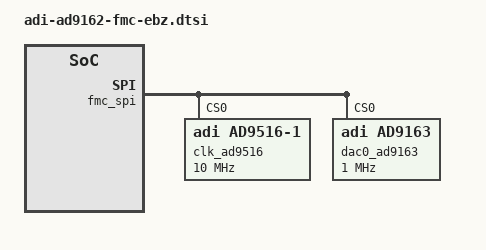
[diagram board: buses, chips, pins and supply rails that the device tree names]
// SPDX-License-Identifier: GPL-2.0
/*
 * dts file for AD916x-FMC-EBZ on Xilinx ZynqMP ZCU102 Rev 1.0
 *
 * Copyright (C) 2024 Analog Devices Inc.
 */

/ {
	clocks {
		ad9516_clkin: clock@0 {
			compatible = "fixed-clock";

			clock-frequency = <2000000000>;
			clock-output-names = "clkin";
			#clock-cells = <0>;
		};
	};
};


&fmc_spi {
	clk_ad9516: ad9516@0 {
		compatible = "adi,ad9516-1";
		reg = <0>;

		spi-max-frequency = <10000000>;

		firmware = "ad9144_fmc_ebz_ad9516.stp";

		clocks = <&ad9516_clkin>, <&ad9516_clkin>;
		clock-names = "refclk", "clkin";

		clock-output-names = "out0", "out1", "out2", "out3", "out4", "out5", "out6", "out7";
		#clock-cells = <1>;
	};
        
        dac0_ad9163: ad9162@0 {
		#address-cells = <1>;
	        #size-cells = <0>;
                compatible = "adi,ad9163";
                reg = <0>;
                spi-max-frequency = <1000000>;
                clocks = <&adf4355_clk 0>;
                clock-names = "dac_clk";

                adi,full-scale-current-mircoamp = <40000>;
                dac_clk-clock-scales = <1 10>;

                jesd204-device;
                #jesd204-cells = <2>;
                jesd204-top-device = <0>; /* This is the TOP device */
                jesd204-link-ids = <0>;
                jesd204-inputs = <&axi_ad9163_core 0 0>;

                adi,subclass = <0>;			/* JESD SUBCLASS 0,1,2 */
                adi,version = <1>;			/* JESD VERSION 0=204A,1=204B,2=204C */
                adi,converters-per-device = <2>;	/* JESD M */
                adi,octets-per-frame = <1>;		/* JESD F */
                adi,frames-per-multiframe = <32>;	/* JESD K */
                adi,converter-resolution = <16>;	/* JESD N */
                adi,bits-per-sample = <16>;		/* JESD NP' */
                adi,control-bits-per-sample = <0>;	/* JESD CS */
                adi,lanes-per-device = <4>;		/* JESD L */
                adi,samples-per-converter-per-frame = <1>; /* JESD S */

                adi,interpolation = <2>;
        };
 };
